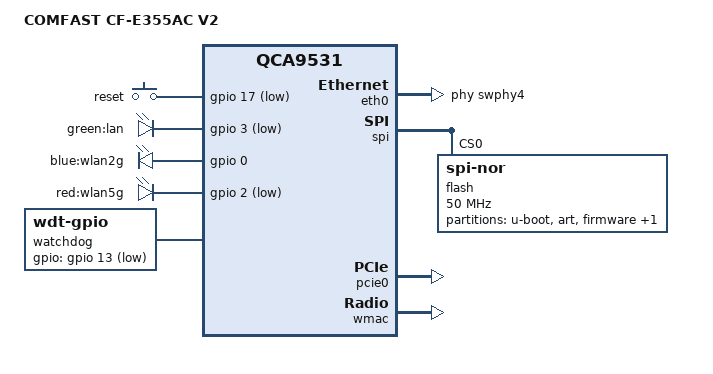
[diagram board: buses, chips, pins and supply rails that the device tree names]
// SPDX-License-Identifier: GPL-2.0-or-later OR MIT

#include "qca953x.dtsi"

#include <dt-bindings/gpio/gpio.h>
#include <dt-bindings/input/input.h>

/ {
	compatible = "comfast,cf-e355ac-v2", "qca,qca9531";
	model = "COMFAST CF-E355AC V2";

	aliases {
		serial0 = &uart;
		label-mac-device = &eth1;
		led-boot = &led_lan;
		led-failsafe = &led_lan;
		led-upgrade = &led_lan;
	};

	keys {
		compatible = "gpio-keys";

		reset {
			label = "reset";
			linux,code = <KEY_RESTART>;
			gpios = <&gpio 17 GPIO_ACTIVE_LOW>;
			debounce-interval = <60>;
		};
	};

	leds {
		compatible = "gpio-leds";

		pinctrl-names = "default";
		pinctrl-0 = <&jtag_disable_pins>;

		led_lan: lan {
			label = "green:lan";
			gpios = <&gpio 3 GPIO_ACTIVE_LOW>;
		};

		wlan2g {
			label = "blue:wlan2g";
			gpios = <&gpio 0 GPIO_ACTIVE_HIGH>;
			linux,default-trigger = "phy1tpt";
		};

		wlan5g {
			label = "red:wlan5g";
			gpios = <&gpio 2 GPIO_ACTIVE_LOW>;
			linux,default-trigger = "phy0tpt";
		};
	};

	watchdog {
		compatible = "linux,wdt-gpio";
		gpios = <&gpio 13 GPIO_ACTIVE_LOW>;
		hw_algo = "toggle";
		hw_margin_ms = <1200>;
		always-running;
	};
};

&eth0 {
	status = "okay";

	phy-handle = <&swphy4>;

	mtd-mac-address = <&art 0x0>;
};

&eth1 {
	mtd-mac-address = <&art 0x0>;
	mtd-mac-address-increment = <1>;
};

&spi {
	status = "okay";

	flash@0 {
		compatible = "jedec,spi-nor";
		reg = <0>;
		spi-max-frequency = <50000000>;

		partitions {
			compatible = "fixed-partitions";
			#address-cells = <1>;
			#size-cells = <1>;

			partition@0 {
				label = "u-boot";
				reg = <0x000000 0x010000>;
				read-only;
			};

			art: partition@10000 {
				label = "art";
				reg = <0x010000 0x010000>;
				read-only;
			};

			partition@20000 {
				compatible = "denx,uimage";
				label = "firmware";
				reg = <0x020000 0xfd0000>;
			};

			partition@ff0000 {
				label = "art-backup";
				reg = <0xff0000 0x010000>;
				read-only;
			};
		};
	};
};

&pcie0 {
	status = "okay";
};

&wdt {
	status = "disabled";
};

&wmac {
	status = "okay";

	mtd-cal-data = <&art 0x1000>;
	mtd-mac-address = <&art 0x0>;
	mtd-mac-address-increment = <3>;
};
